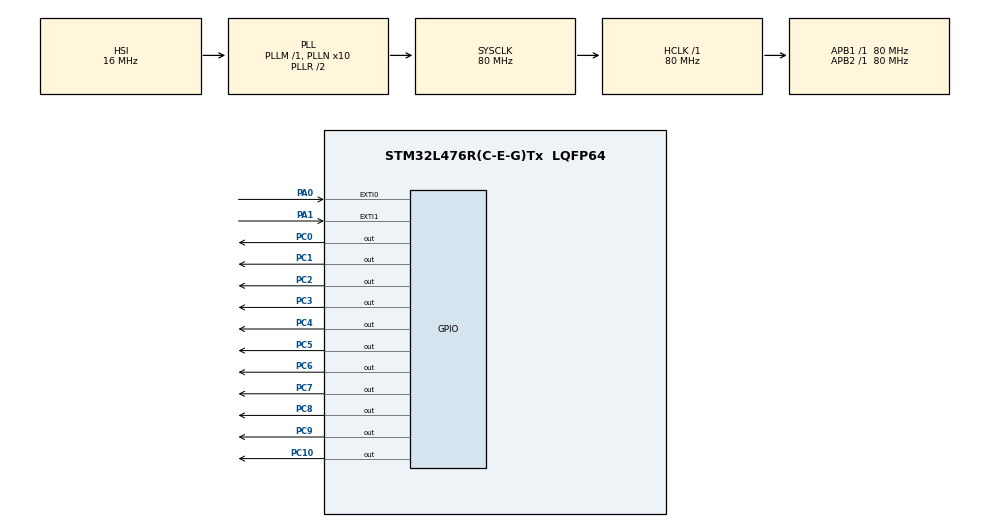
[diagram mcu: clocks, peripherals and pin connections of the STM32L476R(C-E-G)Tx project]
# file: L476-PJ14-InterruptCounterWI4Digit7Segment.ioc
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Mcu.Family=STM32L4
Mcu.Name=STM32L476R(C-E-G)Tx
Mcu.Package=LQFP64
NVIC.EXTI0_IRQn=true\:0\:0\:false\:false\:true\:true\:true\:true
NVIC.EXTI1_IRQn=true\:0\:0\:false\:false\:true\:true\:true\:true
NVIC.PriorityGroup=NVIC_PRIORITYGROUP_4
PA0.GPIO_ModeDefaultEXTI=GPIO_MODE_IT_FALLING
PA0.Signal=GPXTI0
PA1.GPIO_ModeDefaultEXTI=GPIO_MODE_IT_FALLING
PA1.Signal=GPXTI1
PC0.Signal=GPIO_Output
PC1.Signal=GPIO_Output
PC10.Signal=GPIO_Output
PC2.Signal=GPIO_Output
PC3.Signal=GPIO_Output
PC4.Signal=GPIO_Output
PC5.Signal=GPIO_Output
PC6.Signal=GPIO_Output
PC7.Signal=GPIO_Output
PC8.Signal=GPIO_Output
PC9.Signal=GPIO_Output
ProjectManager.HeapSize=0x200
ProjectManager.StackSize=0x400
ProjectManager.TargetToolchain=STM32CubeIDE
RCC.ADCFreq_Value=64000000
RCC.AHBFreq_Value=80000000
RCC.APB1Freq_Value=80000000
RCC.APB1TimFreq_Value=80000000
RCC.APB2Freq_Value=80000000
RCC.APB2TimFreq_Value=80000000
RCC.CortexFreq_Value=80000000
RCC.HCLKFreq_Value=80000000
RCC.HSE_VALUE=8000000
RCC.HSI_VALUE=16000000
RCC.MSI_VALUE=4000000
RCC.PLLN=10
RCC.PLLSourceVirtual=RCC_PLLSOURCE_HSI
RCC.PREFETCH_ENABLE=1
RCC.SYSCLKFreq_VALUE=80000000
RCC.SYSCLKSource=RCC_SYSCLKSOURCE_PLLCLK
RCC.USBFreq_Value=64000000
RCC.VCOOutputFreq_Value=160000000
board=NUCLEO-L476RG

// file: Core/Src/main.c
/* USER CODE BEGIN Header */
/**
  ******************************************************************************
  * @file           : main.c
  * @brief          : Main program body
  ******************************************************************************
  * @attention
  *
  * Copyright (c) 2026 STMicroelectronics.
  * All rights reserved.
  *
  * This software is licensed under terms that can be found in the LICENSE file
  * in the root directory of this software component.
  * If no LICENSE file comes with this software, it is provided AS-IS.
  *
  ******************************************************************************
  */
/* USER CODE END Header */
#include "main.h"

/* USER CODE BEGIN Includes */
#define UP GPIO_PIN_0
#define DOWN GPIO_PIN_1

#define digit1 GPIO_PIN_7
#define digit2 GPIO_PIN_8
#define digit3 GPIO_PIN_9
#define digit4 GPIO_PIN_10
#include <stdint.h>
uint16_t LEDS[]={0x3F,0x06,0x5B,0x4F,0x66,0x6D,0x7D,0x07,0x7F,0x6F};
/* USER CODE END Includes */

/* USER CODE BEGIN PM */
int Count=9970;
void HAL_GPIO_EXTI_Callback(uint16_t GPIO_Pin){
	if(GPIO_Pin == UP){
		Count++;
		if(Count >9999)Count =0;
	}else if(GPIO_Pin == DOWN){
		Count--;
		if(Count <0)Count= 0;
	}
}

/* USER CODE END PM */

void SystemClock_Config(void);
static void MX_GPIO_Init(void);

int main(void)
{

  /* MCU Configuration--------------------------------------------------------*/

  /* Reset of all peripherals, Initializes the Flash interface and the Systick. */
  HAL_Init();

  /* Configure the system clock */
  SystemClock_Config();

  /* Initialize all configured peripherals */
  MX_GPIO_Init();

  /* Infinite loop */
  /* USER CODE BEGIN WHILE */

  int MSD, MID1, MID2, LSD, m, n;
  HAL_GPIO_WritePin(GPIOC, digit1, GPIO_PIN_RESET);
  HAL_GPIO_WritePin(GPIOC, digit2, GPIO_PIN_RESET);
  HAL_GPIO_WritePin(GPIOC, digit3, GPIO_PIN_RESET);
  HAL_GPIO_WritePin(GPIOC, digit4, GPIO_PIN_RESET);
  while (1)
  {
	  MSD=Count/1000;                                       //Get MSD
	  m=Count % 1000;
	  MID2= m/100;                                          //Get MID2
	  n=m%100;
	  MID1=n/10;                                            //Get MID1
	  LSD=n %10;                                            //Get LSD

	  GPIOC -> ODR = LEDS[MSD];
	  HAL_GPIO_WritePin(GPIOC, digit1,GPIO_PIN_SET);
	  HAL_Delay(5);
	  HAL_GPIO_WritePin(GPIOC, digit1, GPIO_PIN_RESET);

	  GPIOC -> ODR = LEDS[MID2];
	  HAL_GPIO_WritePin(GPIOC, digit2,GPIO_PIN_SET);
	  HAL_Delay(5);
	  HAL_GPIO_WritePin(GPIOC, digit2, GPIO_PIN_RESET);

	  GPIOC -> ODR = LEDS[MID1];
	  HAL_GPIO_WritePin(GPIOC, digit3,GPIO_PIN_SET);
	  HAL_Delay(5);
	  HAL_GPIO_WritePin(GPIOC, digit3, GPIO_PIN_RESET);

	  GPIOC -> ODR = LEDS[LSD];
	  HAL_GPIO_WritePin(GPIOC, digit4,GPIO_PIN_SET);
	  HAL_Delay(5);
	  HAL_GPIO_WritePin(GPIOC, digit4, GPIO_PIN_RESET);
    /* USER CODE END WHILE */

  }
}

void SystemClock_Config(void)
{
  RCC_OscInitTypeDef RCC_OscInitStruct = {0};
  RCC_ClkInitTypeDef RCC_ClkInitStruct = {0};

  /** Configure the main internal regulator output voltage
  */
  if (HAL_PWREx_ControlVoltageScaling(PWR_REGULATOR_VOLTAGE_SCALE1) != HAL_OK)
  {
    Error_Handler();
  }

  /** Initializes the RCC Oscillators according to the specified parameters
  * in the RCC_OscInitTypeDef structure.
  */
  RCC_OscInitStruct.OscillatorType = RCC_OSCILLATORTYPE_HSI;
  RCC_OscInitStruct.HSIState = RCC_HSI_ON;
  RCC_OscInitStruct.HSICalibrationValue = RCC_HSICALIBRATION_DEFAULT;
  RCC_OscInitStruct.PLL.PLLState = RCC_PLL_ON;
  RCC_OscInitStruct.PLL.PLLSource = RCC_PLLSOURCE_HSI;
  RCC_OscInitStruct.PLL.PLLM = 1;
  RCC_OscInitStruct.PLL.PLLN = 10;
  RCC_OscInitStruct.PLL.PLLP = RCC_PLLP_DIV7;
  RCC_OscInitStruct.PLL.PLLQ = RCC_PLLQ_DIV2;
  RCC_OscInitStruct.PLL.PLLR = RCC_PLLR_DIV2;
  if (HAL_RCC_OscConfig(&RCC_OscInitStruct) != HAL_OK)
  {
    Error_Handler();
  }

  /** Initializes the CPU, AHB and APB buses clocks
  */
  RCC_ClkInitStruct.ClockType = RCC_CLOCKTYPE_HCLK|RCC_CLOCKTYPE_SYSCLK
                              |RCC_CLOCKTYPE_PCLK1|RCC_CLOCKTYPE_PCLK2;
  RCC_ClkInitStruct.SYSCLKSource = RCC_SYSCLKSOURCE_PLLCLK;
  RCC_ClkInitStruct.AHBCLKDivider = RCC_SYSCLK_DIV1;
  RCC_ClkInitStruct.APB1CLKDivider = RCC_HCLK_DIV1;
  RCC_ClkInitStruct.APB2CLKDivider = RCC_HCLK_DIV1;

  if (HAL_RCC_ClockConfig(&RCC_ClkInitStruct, FLASH_LATENCY_4) != HAL_OK)
  {
    Error_Handler();
  }
}

static void MX_GPIO_Init(void)
{
  GPIO_InitTypeDef GPIO_InitStruct = {0};

  /* GPIO Ports Clock Enable */
  __HAL_RCC_GPIOC_CLK_ENABLE();
  __HAL_RCC_GPIOA_CLK_ENABLE();

  /*Configure GPIO pin Output Level */
  HAL_GPIO_WritePin(GPIOC, GPIO_PIN_0|GPIO_PIN_1|GPIO_PIN_2|GPIO_PIN_3
                          |GPIO_PIN_4|GPIO_PIN_5|GPIO_PIN_6|GPIO_PIN_7
                          |GPIO_PIN_8|GPIO_PIN_9|GPIO_PIN_10, GPIO_PIN_RESET);

  /*Configure GPIO pins : PC0 PC1 PC2 PC3
                           PC4 PC5 PC6 PC7
                           PC8 PC9 PC10 */
  GPIO_InitStruct.Pin = GPIO_PIN_0|GPIO_PIN_1|GPIO_PIN_2|GPIO_PIN_3
                          |GPIO_PIN_4|GPIO_PIN_5|GPIO_PIN_6|GPIO_PIN_7
                          |GPIO_PIN_8|GPIO_PIN_9|GPIO_PIN_10;
  GPIO_InitStruct.Mode = GPIO_MODE_OUTPUT_PP;
  GPIO_InitStruct.Pull = GPIO_NOPULL;
  GPIO_InitStruct.Speed = GPIO_SPEED_FREQ_LOW;
  HAL_GPIO_Init(GPIOC, &GPIO_InitStruct);

  /*Configure GPIO pins : PA0 PA1 */
  GPIO_InitStruct.Pin = GPIO_PIN_0|GPIO_PIN_1;
  GPIO_InitStruct.Mode = GPIO_MODE_IT_FALLING;
  GPIO_InitStruct.Pull = GPIO_NOPULL;
  HAL_GPIO_Init(GPIOA, &GPIO_InitStruct);

  /* EXTI interrupt init*/
  HAL_NVIC_SetPriority(EXTI0_IRQn, 0, 0);
  HAL_NVIC_EnableIRQ(EXTI0_IRQn);

  HAL_NVIC_SetPriority(EXTI1_IRQn, 0, 0);
  HAL_NVIC_EnableIRQ(EXTI1_IRQn);

}

void Error_Handler(void)
{
  __disable_irq();
  while (1)
  {
  }
}
